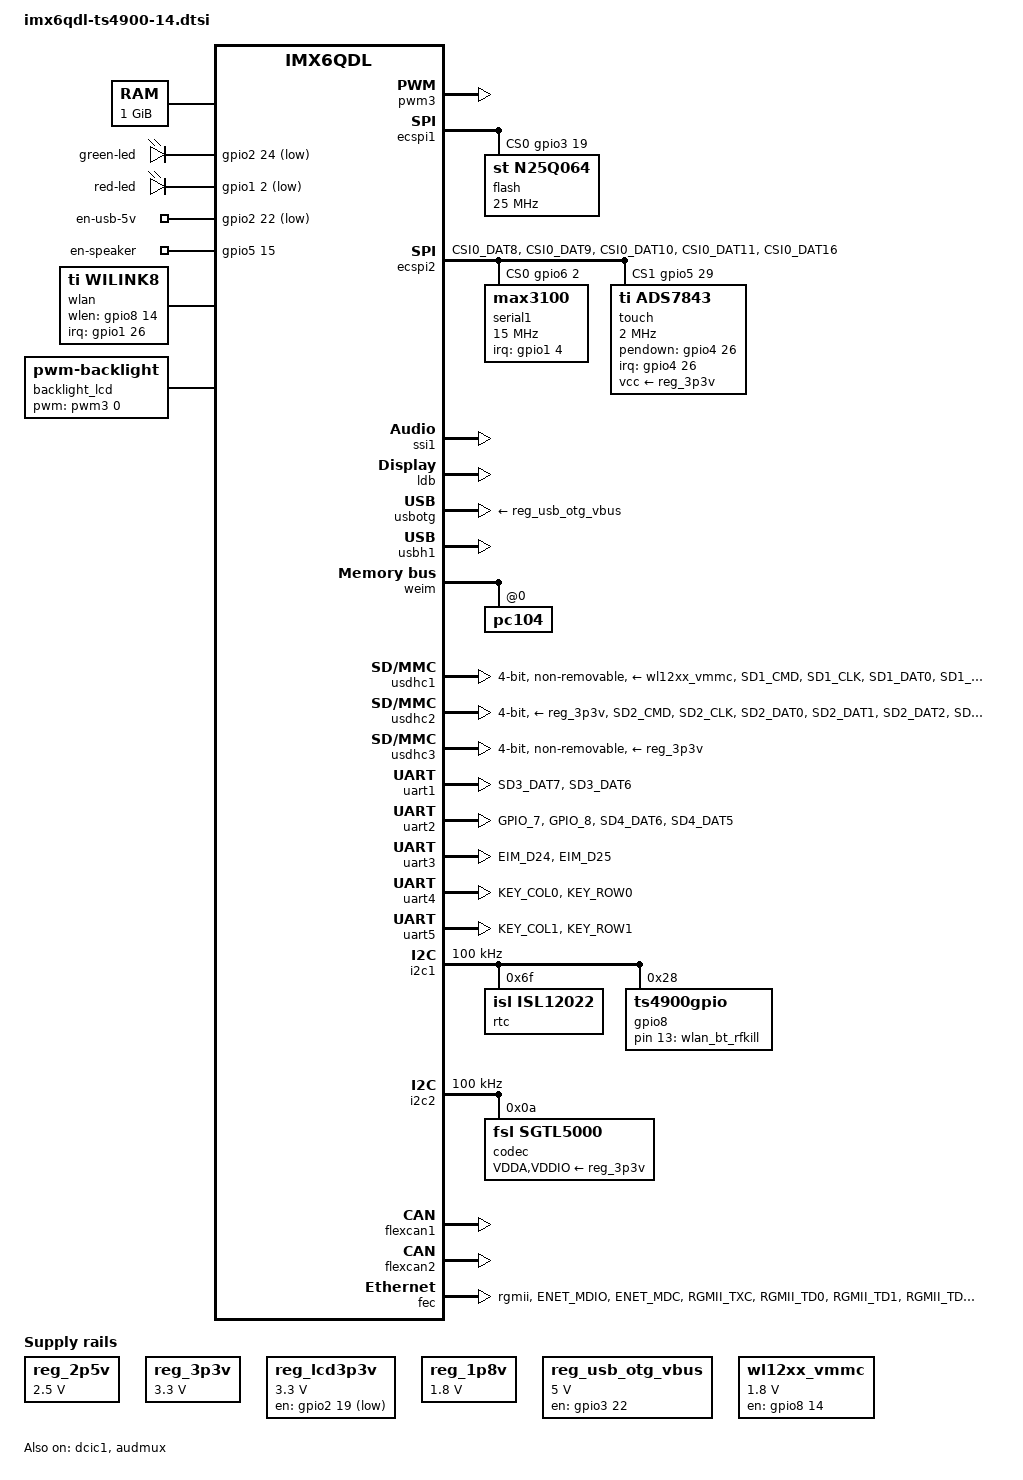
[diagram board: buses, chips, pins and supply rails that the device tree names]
/*
 * Copyright 2011 Freescale Semiconductor, Inc.
 * Copyright 2011 Linaro Ltd.
 *
 * The code contained herein is licensed under the GNU General Public
 * License. You may obtain a copy of the GNU General Public License
 * Version 2 or later at the following locations:
 *
 * http://www.opensource.org/licenses/gpl-license.html
 * http://www.gnu.org/copyleft/gpl.html
 */

#include <dt-bindings/interrupt-controller/irq.h>

/ {
	aliases {
		mxcfb0 = &mxcfb0;
	};
	
	memory {
		reg = <0x10000000 0x40000000>;
	};

	leds {
		compatible = "gpio-leds";

		green-led {
			label = "green-led";
			gpios = <&gpio2 24 1>;
			default-state = "on";
		};

		red-led {
			label = "red-led";
			gpios = <&gpio1 2 1>;
			default-state = "off";
		};

		// These are intended as userspace controlled IO.  In this kernel
		// version LEDs are the best interface I can find to allow both
		// userspace control and a default value.

		en-usb-5v {
			label = "en-usb-5v";
			gpios = <&gpio2 22 1>;
			default-state = "off";
		};

		en-speaker {
			label = "en-speaker";
			gpios = <&gpio5 15 0>;
			default-state = "on";
		};
	};

	regulators {
		compatible = "simple-bus";
		reg_2p5v: 2p5v {
			compatible = "regulator-fixed";
			regulator-name = "2P5V";
			regulator-min-microvolt = <2500000>;
			regulator-max-microvolt = <2500000>;
			regulator-always-on;
		};

		reg_3p3v: 3p3v {
			compatible = "regulator-fixed";
			regulator-name = "3P3V";
			regulator-min-microvolt = <3300000>;
			regulator-max-microvolt = <3300000>;
			regulator-always-on;
		};

		reg_lcd3p3v: lcd3p3v {
			compatible = "regulator-fixed";
			regulator-name = "LCD3P3V";
			regulator-min-microvolt = <3300000>;
			regulator-max-microvolt = <3300000>;
			gpio = <&gpio2 19 0>;
			startup-delay-us = <60000>;
			regulator-boot-on;
		};

		reg_1p8v: 1p8v {
			compatible = "regulator-fixed";
			regulator-name = "1P8V";
			regulator-min-microvolt = <1800000>;
			regulator-max-microvolt = <1800000>;
			regulator-always-on;
		};

		reg_usb_otg_vbus: usb_otg_vbus {
			compatible = "regulator-fixed";
			regulator-name = "usb_otg_vbus";
			regulator-min-microvolt = <5000000>;
			regulator-max-microvolt = <5000000>;
			gpio = <&gpio3 22 0>;
			enable-active-high;
		};

		wl12xx_vmmc: wl12xx_vmmc {
			compatible = "regulator-fixed";
			regulator-name = "wl12xx_vmmc";
			regulator-min-microvolt = <1800000>;
			regulator-max-microvolt = <1800000>;
			gpio = <&gpio8 14 0>;
			startup-delay-us = <100000>;
			enable-active-high;
			regulator-boot-on;
		};
	};

	sound {
		compatible = "fsl,imx6q-ts4900-sgtl5000",
			     "fsl,imx-audio-sgtl5000";
		model = "imx6q-ts4900-sgtl5000";
		cpu-dai = <&ssi1>;
		audio-codec = <&codec>;
		audio-routing =
			"MIC_IN", "Mic Jack",
			"Mic Jack", "Mic Bias",
			"Headphone Jack", "HP_OUT";
		mux-int-port = <1>;
		mux-ext-port = <3>;
	};

	mxcfb0: fb@0 {
		compatible = "fsl,mxc_sdc_fb";
		disp_dev = "ldb";
		interface_pix_fmt = "RGB666";
		default_bpp = <16>;
		int_clk = <0>;
		late_init = <0>;
		status = "okay";
	};

	wlan {
		compatible = "ti,wilink8";
		interrupt-parent = <&gpio1>;
		interrupts = <26 IRQ_TYPE_EDGE_FALLING>;
		wlen-gpio = <&gpio8 14 0>;
	};

	wlan_bt_rfkill {
		compatible = "net,rfkill-gpio";
		name = "wlan_bt_rfkill";
		type = <2>;     /* bluetooth */
		gpios = <&gpio8 13 0>;
	};
	
	backlight_lcd {
		compatible = "pwm-backlight";
		pwms = <&pwm3 0 5000000>;
		brightness-levels = <0 128 140 160 180 200 220 240 255>;
		default-brightness-level = <8>;
	};
};

&pwm3 {
	pinctrl-names = "default";
	pinctrl-0 = <&pinctrl_pwm3_1>;
	status = "okay";
};

&ecspi1 {
	fsl,spi-num-chipselects = <1>;
	cs-gpios = <&gpio3 19 0>;
	pinctrl-names = "default";
	pinctrl-0 = <&pinctrl_ecspi1_1>;
	status = "okay";

	flash: n25q064@0 {
		compatible = "st,n25q064";
		spi-max-frequency = <25000000>;
		reg = <0>;
		#address-cells = <1>;
		#size-cells = <1>;

		uboot@0 {
			label = "U-Boot";
			reg = <0x0000000 0x0100000>;
		};
		ubootenv@0100000 {
			label = "env";
			reg = <0x0100000 0x0020000>;
		};
		user@0400000 {
			label = "user-data";
			reg = <0x0400000 0x0400000>;
		};
	};
};

&ecspi2 {
	fsl,spi-num-chipselects = <2>;
	cs-gpios = <&gpio6 2 0>, <&gpio5 29 0>;
	pinctrl-names = "default";
	pinctrl-0 = <&pinctrl_ecspi2_4900>;
	status = "okay";

	serial1: max3100@0 {
		compatible = "max3100";
		reg = <0>;
		interrupt-parent = <&gpio1>;
		interrupts = <4 2>;
		spi-max-frequency = <15000000>;
		loopback = <0>;
		crystal = <1>;
		poll-time = <100>;
	};

	touch: ads7843@1 {
		compatible = "ti,ads7843";
		reg = <1>;
		interrupt-parent = <&gpio4>;
		interrupts = <26 2>;
		vcc-supply = <&reg_3p3v>;
		spi-max-frequency = <2000000>;
		pendown-gpio = <&gpio4 26 0>;
		ti,penirq-recheck-delay-usecs = /bits/ 16 <5000>;
		ti,vref-mv = <3300>;
		ti,swap-xy;
		ti,keep-vref-on;
		ti,settle-delay-usec = /bits/ 16 <5000>;
		ti,vref-delay-usecs = /bits/ 16 <0>;
		ti,x-plate-ohms = /bits/ 16 <715>;
		ti,y-plate-ohms = /bits/ 16 <325>;
		ti,debounce-rep = /bits/ 16 <3>;
		ti,debounce-tol = /bits/ 16 <65535>;
		ti,debounce-max = /bits/ 16 <0>;
		ti,pendown-gpio-debounce = <100000>;
		linux,wakeup;
	};
};

&ssi1 {
	fsl,mode = "i2s-slave";
	status = "okay";
};

&iomuxc {
	pinctrl-names = "default";
	pinctrl-0 = <&pinctrl_misc>;

	uart1-4900 {
		pinctrl_uart1_4900: tsuart1-grp-2 {
			fsl,pins = <
				MX6QDL_PAD_SD3_DAT7__UART1_TX_DATA	0x1b0b1
				MX6QDL_PAD_SD3_DAT6__UART1_RX_DATA	0x1b0b1
			>;
		};
	};

	uart2-4900 {
		pinctrl_uart2_4900: tsuart2-grp-2 {
			fsl,pins = <
				MX6QDL_PAD_GPIO_7__UART2_TX_DATA	0x1b0b1
				MX6QDL_PAD_GPIO_8__UART2_RX_DATA	0x1b0b1
				MX6QDL_PAD_SD4_DAT6__UART2_CTS_B    0x1b0b1
				MX6QDL_PAD_SD4_DAT5__UART2_RTS_B    0x130B1
			>;
		};
	};

	uart3-4900 {
		pinctrl_uart3_4900: tsuart3-grp-2 {
			fsl,pins = <
				MX6QDL_PAD_EIM_D24__UART3_TX_DATA	0x1b0b1
				MX6QDL_PAD_EIM_D25__UART3_RX_DATA	0x1b0b1
			>;
		};
	};

	uart4-4900 {
		pinctrl_uart4_4900: tsuart4-grp-2 {
			fsl,pins = <
				MX6QDL_PAD_KEY_COL0__UART4_TX_DATA	0x1b0b1
				MX6QDL_PAD_KEY_ROW0__UART4_RX_DATA	0x1b0b1
			>;
		};
	};

	uart5-4900 {
		pinctrl_uart5_4900: tsuart5-grp-2 {
			fsl,pins = <
				MX6QDL_PAD_KEY_COL1__UART5_TX_DATA	0x1b0b1
				MX6QDL_PAD_KEY_ROW1__UART5_RX_DATA	0x1b0b1
			>;
		};
	};

	// TODO verify irq uses same pad settings
	usdhc1-4900 {
		pinctrl_usdhc1_4900: tsusdhc1grp-1 {
			fsl,pins = <
				MX6QDL_PAD_SD1_CMD__SD1_CMD	     0x17059
				MX6QDL_PAD_SD1_CLK__SD1_CLK	     0x10059
				MX6QDL_PAD_SD1_DAT0__SD1_DATA0	 0x17059
				MX6QDL_PAD_SD1_DAT1__SD1_DATA1	 0x17059
				MX6QDL_PAD_SD1_DAT2__SD1_DATA2	 0x17059
				MX6QDL_PAD_SD1_DAT3__SD1_DATA3	 0x17059
				MX6QDL_PAD_ENET_RXD1__GPIO1_IO26 0x17059 // WIFI IRQ								
			>;
		};
	};

	usdhc2-4900 {
		pinctrl_usdhc2_4900: tsusdhc2grp-2 {
			fsl,pins = <
				MX6QDL_PAD_SD2_CMD__SD2_CMD    0x17059
				MX6QDL_PAD_SD2_CLK__SD2_CLK    0x10059
				MX6QDL_PAD_SD2_DAT0__SD2_DATA0 0x17059
				MX6QDL_PAD_SD2_DAT1__SD2_DATA1 0x17059
				MX6QDL_PAD_SD2_DAT2__SD2_DATA2 0x17059
				MX6QDL_PAD_SD2_DAT3__SD2_DATA3 0x17059
			>;
		};
	};

	ecspi2-4900 {
		pinctrl_ecspi2_4900: tsecspi2-1 {
			fsl,pins = <
				MX6QDL_PAD_CSI0_DAT8__ECSPI2_SCLK    0x100b1
				MX6QDL_PAD_CSI0_DAT9__ECSPI2_MOSI    0x100b1
				MX6QDL_PAD_CSI0_DAT10__ECSPI2_MISO   0x100b1
				MX6QDL_PAD_CSI0_DAT11__GPIO5_IO29    0x180b1 // Offboard CS0#
				MX6QDL_PAD_CSI0_DAT16__GPIO6_IO02    0x180b1 // FPGA CS1#
			>;
		};
	};

	enet-4900 {
		pinctrl_enet_4900: tsenet-4900 {
			fsl,pins = <
				MX6QDL_PAD_ENET_MDIO__ENET_MDIO       0x1b0b0
				MX6QDL_PAD_ENET_MDC__ENET_MDC         0x1b0b0
				MX6QDL_PAD_RGMII_TXC__RGMII_TXC       0x1b0b0
				MX6QDL_PAD_RGMII_TD0__RGMII_TD0       0x1b0b0
				MX6QDL_PAD_RGMII_TD1__RGMII_TD1       0x1b0b0
				MX6QDL_PAD_RGMII_TD2__RGMII_TD2       0x1b0b0
				MX6QDL_PAD_RGMII_TD3__RGMII_TD3       0x1b0b0
				MX6QDL_PAD_RGMII_TX_CTL__RGMII_TX_CTL 0x1b0b0
				MX6QDL_PAD_ENET_REF_CLK__ENET_TX_CLK  0x1b0b0
				MX6QDL_PAD_RGMII_RXC__RGMII_RXC       0x1b0b0
				MX6QDL_PAD_RGMII_RD0__RGMII_RD0       0x1b0b0
				MX6QDL_PAD_RGMII_RD1__RGMII_RD1       0x1b0b0
				MX6QDL_PAD_RGMII_RD2__RGMII_RD2       0x1b0b0
				MX6QDL_PAD_RGMII_RD3__RGMII_RD3       0x1b0b0
				MX6QDL_PAD_RGMII_RX_CTL__RGMII_RX_CTL 0x1b0b0
				MX6QDL_PAD_ENET_REF_CLK__ENET_TX_CLK  0x4001b0a8
				MX6QDL_PAD_ENET_TX_EN__GPIO1_IO28     0x80000000
				MX6QDL_PAD_DI0_PIN4__GPIO4_IO20       0x80000000 // ETH_PHY_RESET
			>;
		};
	};
	
	misc {
		pinctrl_misc: tsmisc {
			fsl,pins = <
				MX6QDL_PAD_EIM_EB0__GPIO2_IO28         0x80000000 // EN_SD_POWER#
				MX6QDL_PAD_EIM_A17__GPIO2_IO21         0x80000000 // OFF_BD_RESET#
				MX6QDL_PAD_EIM_D19__GPIO3_IO19         0x80000000 // SPI_1_CS#
				MX6QDL_PAD_GPIO_3__XTALOSC_REF_CLK_24M 0x10       // FPGA 24MHZ
				MX6QDL_PAD_GPIO_4__GPIO1_IO04          0x80000000 // FPGA_IRQ
				MX6QDL_PAD_CSI0_VSYNC__GPIO5_IO21      0x80000000 // FPGA_RESET#
				MX6QDL_PAD_CSI0_DATA_EN__GPIO5_IO20    0x80000000 // FPGA_DONE
				MX6QDL_PAD_GPIO_0__CCM_CLKO1           0x130b0    // Audio CLK
				MX6QDL_PAD_GPIO_2__GPIO1_IO02          0x80000000 // RED_LED#
				MX6QDL_PAD_EIM_CS1__GPIO2_IO24         0x80000000 // GREEN_LED#

				MX6QDL_PAD_DISP0_DAT8__GPIO4_IO29      0x80000000 // DIO_6
				MX6QDL_PAD_DISP0_DAT9__GPIO4_IO30      0x80000000 // DIO_7
				MX6QDL_PAD_DISP0_DAT10__GPIO4_IO31     0x80000000 // DIO_8
				MX6QDL_PAD_DISP0_DAT11__GPIO5_IO05     0x80000000 // DIO_9
				MX6QDL_PAD_DISP0_DAT12__GPIO5_IO06     0x80000000 // DIO_10
				MX6QDL_PAD_DISP0_DAT13__GPIO5_IO07     0x80000000 // DIO_11
				MX6QDL_PAD_DISP0_DAT14__GPIO5_IO08     0x80000000 // DIO_12
				MX6QDL_PAD_DISP0_DAT15__GPIO5_IO09     0x80000000 // IRQ9
				MX6QDL_PAD_DISP0_DAT17__GPIO5_IO11     0x80000000 // GPS_PPS
				MX6QDL_PAD_DISP0_DAT18__GPIO5_IO12     0x80000000 // i.MX6_CS2#
				MX6QDL_PAD_DISP0_DAT19__GPIO5_IO13     0x80000000 // USER_JMP_1#
				MX6QDL_PAD_DISP0_DAT20__GPIO5_IO14     0x80000000 // USER_JMP_2#
				MX6QDL_PAD_DI0_DISP_CLK__GPIO4_IO16    0x80000000 // MSATA_DET#
				MX6QDL_PAD_DI0_PIN2__GPIO4_IO18        0x80000000 // PCIE_DET#
				MX6QDL_PAD_DI0_PIN3__GPIO4_IO19        0x80000000 // LCD_INT
				MX6QDL_PAD_EIM_OE__GPIO2_IO25          0x80000000 // BD_ID_DATA
				MX6QDL_PAD_EIM_A20__GPIO2_IO18         0x80000000 // XBEE_CTS#
				MX6QDL_PAD_EIM_A22__GPIO2_IO16         0x80000000 // IRQ7
				MX6QDL_PAD_EIM_A23__GPIO6_IO06         0x80000000 // IRQ6
				MX6QDL_PAD_EIM_A24__GPIO5_IO04         0x80000000 // IRQ5
				MX6QDL_PAD_DISP0_DAT1__GPIO4_IO22      0x80000000 // EN_USB_5V
				MX6QDL_PAD_DISP0_DAT3__GPIO4_IO24      0x80000000 // EN_GPS_3.3V#
				MX6QDL_PAD_DISP0_DAT5__GPIO4_IO26      0x80000000 // TOUCH_WAKE#
				//MX6QDL_PAD_DISP0_DAT6__ECSPI3_SS3      0x80000000 // SPI_CS2#
				MX6QDL_PAD_DISP0_DAT6__GPIO4_IO27      0x80000000 // SPI_CS2#
				MX6QDL_PAD_DISP0_DAT7__GPIO4_IO28      0x80000000 // HP_DETECT
				MX6QDL_PAD_DISP0_DAT21__GPIO5_IO15     0x80000000 // EN_SPKR
				MX6QDL_PAD_DISP0_DAT22__GPIO5_IO16     0x80000000 // CAN_EN#
				MX6QDL_PAD_DISP0_DAT23__GPIO5_IO17     0x80000000 // GYRO_INT
				MX6QDL_PAD_EIM_A19__GPIO2_IO19         0x80000000 // EN_LCD_3.3V


				// MUXBUS pins
				MX6QDL_PAD_EIM_DA0__EIM_AD00           0x80000000 // MUX_AD_00
				MX6QDL_PAD_EIM_DA1__EIM_AD01           0x80000000 // MUX_AD_01
				MX6QDL_PAD_EIM_DA2__EIM_AD02           0x80000000 // MUX_AD_02
				MX6QDL_PAD_EIM_DA3__EIM_AD03           0x80000000 // MUX_AD_03
				MX6QDL_PAD_EIM_DA4__EIM_AD04           0x80000000 // MUX_AD_04
				MX6QDL_PAD_EIM_DA5__EIM_AD05           0x80000000 // MUX_AD_05
				MX6QDL_PAD_EIM_DA6__EIM_AD06           0x80000000 // MUX_AD_06
				MX6QDL_PAD_EIM_DA7__EIM_AD07           0x80000000 // MUX_AD_07
				MX6QDL_PAD_EIM_DA8__EIM_AD08           0x80000000 // MUX_AD_08
				MX6QDL_PAD_EIM_DA9__EIM_AD09           0x80000000 // MUX_AD_09
				MX6QDL_PAD_EIM_DA10__EIM_AD10          0x80000000 // MUX_AD_10
				MX6QDL_PAD_EIM_DA11__EIM_AD11          0x80000000 // MUX_AD_11
				MX6QDL_PAD_EIM_DA12__EIM_AD12          0x80000000 // MUX_AD_12
				MX6QDL_PAD_EIM_DA13__EIM_AD13          0x80000000 // MUX_AD_13
				MX6QDL_PAD_EIM_DA14__EIM_AD14          0x80000000 // MUX_AD_14
				MX6QDL_PAD_EIM_DA15__EIM_AD15          0x80000000 // MUX_AD_15
				MX6QDL_PAD_EIM_A16__EIM_ADDR16         0x80000000 // MX6_A16
				MX6QDL_PAD_EIM_LBA__EIM_LBA_B          0x80000000 // BUS_ALE#
				MX6QDL_PAD_EIM_RW__EIM_RW              0x80000000 // BUS_DIR
				MX6QDL_PAD_EIM_CS0__EIM_CS0_B          0x80000000 // BUS_CS#
				MX6QDL_PAD_EIM_WAIT__EIM_DTACK_B        0x80000000 // BUS_WAIT#
				// On REV A this is CN1_99, on REV C CN1_65
				MX6QDL_PAD_EIM_D31__GPIO3_IO31         0x80000000 // D31/GPIO
				// On REV A this is CN1_65, on REV C CN1_99
				MX6QDL_PAD_EIM_EB1__EIM_EB1_B          0x80000000 // BUS_BHE#
				MX6QDL_PAD_CSI0_DATA_EN__EIM_DATA00    0x80000000 //
			>;
		};
	};
};

&ldb {
	status = "okay";

	lvds-channel@0 {
		fsl,data-mapping = "spwg";
		fsl,data-width = <18>;
		status = "okay";
		primary;
		crtc = "ipu1-di0";

		display-timings {
			native-mode = <&timing0>;
			timing0: hantronix-svga1 {
				clock-frequency = <40000000>;
				hactive = <800>;
				vactive = <600>;
				hback-porch = <46>;
				hfront-porch = <210>;
				vback-porch = <23>;
				vfront-porch = <12>;
				hsync-len = <20>;
				vsync-len = <10>;
				de-active = <1>;
				hsync-active = <1>;
				vsync-active = <1>;
				pixelclk-active = <0>;
			};
		};
	};
};

&dcic1 {
	dcic_id = <0>;
	dcic_mux = "dcic-lvds0";
	status = "okay";
};

&usbotg {
	vbus-supply = <&reg_usb_otg_vbus>;
	pinctrl-names = "default";
	pinctrl-0 = <&pinctrl_usbotg_1>;
	disable-over-current;
	status = "okay";
};

&usbh1 {
	status = "okay";
};

&weim {
    status = "okay";
	#address-cells = <2>;
	#size-cells = <1>;
    pc104@0,0 {
    	reg = <0 0 0x02000000>;
		#address-cells = <1>;
		#size-cells = <1>;
		bank-width = <2>;
		//   EIM_CS0GCR1, EIM_CS0GCR2, EIM_CS0RCR1,
		// EIM_CS0RCR2, EIM_CS0WCR1, EIM_CS0WCR2
    	fsl,weim-cs-timing = <0x00710089 0x000011F2 0x1C022000
    			0x00000000 0x1C092480 0x00000000>;
    };
};

// WIFI
&usdhc1 { 
	pinctrl-names = "default";
	pinctrl-0 = <&pinctrl_usdhc1_4900>;
	vmmc-supply = <&wl12xx_vmmc>;
	bus-width = <4>;
	status = "okay";
	non-removable;
};

// SD
&usdhc2 {
	pinctrl-names = "default";
	pinctrl-0 = <&pinctrl_usdhc2_4900>;
	vmmc-supply = <&reg_3p3v>;
	bus-width = <4>;
	status = "okay";
	//fsl,cd-controller;
	fsl,wp-controller;	
};

// eMMC
&usdhc3 {
	pinctrl-names = "default";
	pinctrl-0 = <&pinctrl_usdhc3_2>;
	vmmc-supply = <&reg_3p3v>;
	bus-width = <4>;
	status = "okay";
	fsl,wp-controller;
	non-removable;
}; 

&audmux {
	status = "okay";
	pinctrl-names = "default";
	pinctrl-0 = <&pinctrl_audmux_2>;
};

&uart1 {
	status = "okay";
	pinctrl-names = "default";
	pinctrl-0 = <&pinctrl_uart1_4900>;
};

&uart2 {
	status = "okay";
	pinctrl-names = "default";
	pinctrl-0 = <&pinctrl_uart2_4900>;
	fsl,uart-has-rtscts;
};

&uart3 {
	status = "okay";
	pinctrl-names = "default";
	pinctrl-0 = <&pinctrl_uart3_4900>;
};

&uart4 {
	status = "okay";
	pinctrl-names = "default";
	pinctrl-0 = <&pinctrl_uart4_4900>;
};

&uart5 {
	status = "okay";
	pinctrl-names = "default";
	pinctrl-0 = <&pinctrl_uart5_4900>;
};

&i2c1 {
	status = "okay";
	clock-frequency = <100000>;
	pinctrl-names = "default";
	pinctrl-0 = <&pinctrl_i2c1_1>;

	rtc: isl12022@6f {
		compatible = "isl,isl12022";
		reg = <0x6f>;
	};

	gpio8: ts4900gpio@28 {
		compatible = "ts4900gpio";
		reg = <0x28>;
		#gpio-cells = <2>;
		gpio-controller;
	};
};

&i2c2 {
	status = "okay";
	clock-frequency = <100000>;
	pinctrl-names = "default";
	pinctrl-0 = <&pinctrl_i2c2_2>;

	codec: sgtl5000@0a {
		compatible = "fsl,sgtl5000";
		reg = <0x0a>;
		clocks = <&clks 201>;
		VDDA-supply = <&reg_3p3v>;
		VDDIO-supply = <&reg_3p3v>;
	};
};

&flexcan1 {
        pinctrl-names = "default";
        pinctrl-0 = <&pinctrl_flexcan1_1>;
        status = "okay";
};

&flexcan2 {
        pinctrl-names = "default";
        pinctrl-0 = <&pinctrl_flexcan2_1>;
        status = "okay";
};

&fec {
		pinctrl-names = "default";
		pinctrl-0 = <&pinctrl_enet_4900>;
		phy-mode = "rgmii";
		status = "okay";	
};
